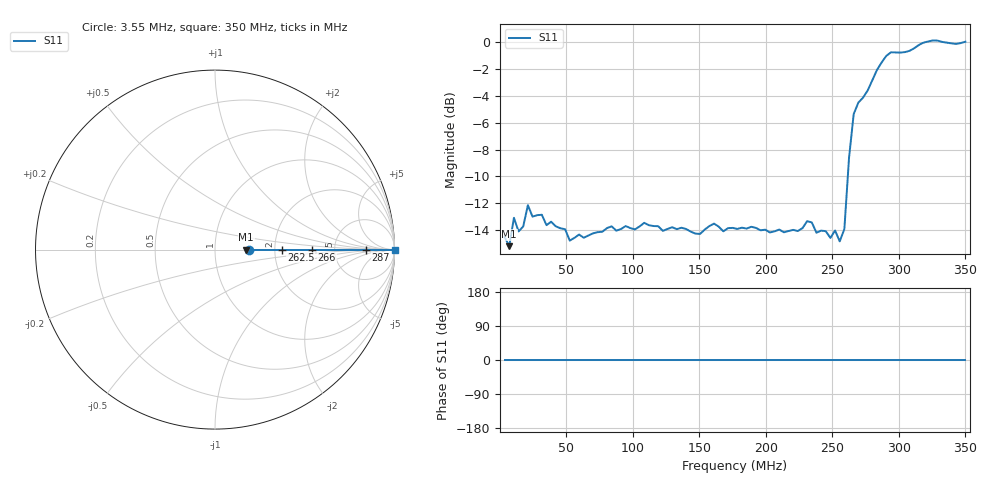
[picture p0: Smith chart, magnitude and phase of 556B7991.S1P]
!File created by NanoVNA
# Hz S RI R 50
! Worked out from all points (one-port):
!   100 points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, 3.55 MHz to 350 MHz, reference 50 ohm
!   lowest |S11| = -15.2 dB at 7.049 MHz (marker M1), VSWR 1.42, Z = 71 + j0 ohm
!   |S11| at or under -10 dB: start of sweep to 261.6 MHz
!   S11 on the Smith chart (normalised r, x): 3.55 MHz: 1.46, +0.00; 262.5 MHz: 2.18, +0.00; 266 MHz: 3.35, +0.00; 287 MHz: 12, +0; 350 MHz: open
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3549500  0.1879 0
7049000  0.1738 0
1.05485e7  0.2217 0
1.4048e7  0.1972 0
1.75475e7  0.2058 0
2.1047e7  0.247 0
2.45465e7  0.2239 0
4.9043e7  0.201 0
5.25425e7  0.1823 0
9.1037e7  0.2013 0
1.365305e8  0.2036 0
1.505285e8  0.193 0
1.785245e8  0.2015 0
2.205185e8  0.1998 0
2.31017e8  0.2154 0
2.485145e8  0.1865 0
2.52014e8  0.1987 0
2.555135e8  0.1811 0
2.59013e8  0.2014 0
2.625125e8  0.371 0
2.66012e8  0.5401 0
2.765105e8  0.6614 0
2.87009e8  0.8414 0
2.94008e8  0.918 0
3.08006e8  0.9297 0
3.255035e8  1.016 0
3.43001e8  0.9866 0
3.5e8  1.005 0
